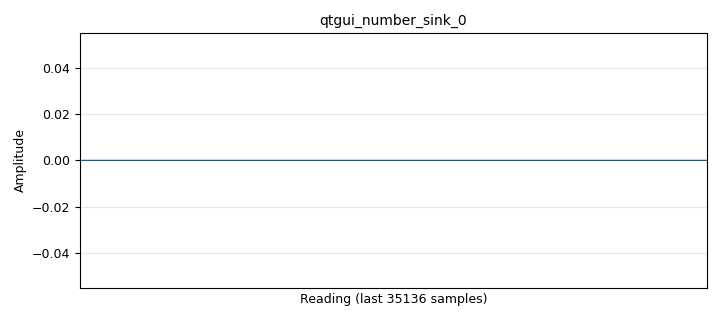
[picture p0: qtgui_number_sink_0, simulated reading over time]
<?xml version='1.0' encoding='utf-8'?>
<?grc format='1' created='3.7.13'?>
<flow_graph>
<block>
<key>options</key>
<param><key>id</key><value>top_block</value></param>
<param><key>generate_options</key><value>qt_gui</value></param>
</block>
<block>
<key>variable</key>
<param><key>id</key><value>samp_rate</value></param>
<param><key>value</key><value>32000</value></param>
</block>
<block>
<key>analog_sig_source_x</key>
<param><key>id</key><value>analog_sig_source_x_0</value></param>
<param><key>amp</key><value>1</value></param>
<param><key>freq</key><value>1000</value></param>
<param><key>offset</key><value>0</value></param>
<param><key>type</key><value>float</value></param>
<param><key>samp_rate</key><value>samp_rate</value></param>
<param><key>waveform</key><value>analog.GR_COS_WAVE</value></param>
</block>
<block>
<key>blocks_complex_to_arg</key>
<param><key>id</key><value>blocks_complex_to_arg_0</value></param>
</block>
<block>
<key>blocks_complex_to_arg</key>
<param><key>id</key><value>blocks_complex_to_arg_0_0</value></param>
</block>
<block>
<key>blocks_delay</key>
<param><key>id</key><value>blocks_delay_0</value></param>
<param><key>delay</key><value>0</value></param>
<param><key>type</key><value>float</value></param>
</block>
<block>
<key>blocks_stream_to_vector</key>
<param><key>id</key><value>blocks_stream_to_vector_0</value></param>
<param><key>type</key><value>float</value></param>
<param><key>num_items</key><value>1024</value></param>
</block>
<block>
<key>blocks_stream_to_vector</key>
<param><key>id</key><value>blocks_stream_to_vector_0_0</value></param>
<param><key>type</key><value>float</value></param>
<param><key>num_items</key><value>1024</value></param>
</block>
<block>
<key>blocks_sub_xx</key>
<param><key>id</key><value>blocks_sub_xx_0</value></param>
<param><key>type</key><value>float</value></param>
</block>
<block>
<key>blocks_vector_to_stream</key>
<param><key>id</key><value>blocks_vector_to_stream_0</value></param>
<param><key>type</key><value>complex</value></param>
<param><key>num_items</key><value>1024</value></param>
</block>
<block>
<key>blocks_vector_to_stream</key>
<param><key>id</key><value>blocks_vector_to_stream_0_0</value></param>
<param><key>type</key><value>complex</value></param>
<param><key>num_items</key><value>1024</value></param>
</block>
<block>
<key>fft_vxx</key>
<param><key>id</key><value>fft_vxx_0</value></param>
<param><key>fft_size</key><value>1024</value></param>
<param><key>forward</key><value>True</value></param>
<param><key>type</key><value>float</value></param>
<param><key>shift</key><value>True</value></param>
<param><key>window</key><value>window.blackmanharris(1024)</value></param>
</block>
<block>
<key>fft_vxx</key>
<param><key>id</key><value>fft_vxx_0_0</value></param>
<param><key>fft_size</key><value>1024</value></param>
<param><key>forward</key><value>True</value></param>
<param><key>type</key><value>float</value></param>
<param><key>shift</key><value>True</value></param>
<param><key>window</key><value>window.blackmanharris(1024)</value></param>
</block>
<block>
<key>qtgui_number_sink</key>
<param><key>id</key><value>qtgui_number_sink_0</value></param>
<param><key>graph_type</key><value>qtgui.NUM_GRAPH_HORIZ</value></param>
<param><key>type</key><value>float</value></param>
</block>
<connection><source_block_id>analog_sig_source_x_0</source_block_id><sink_block_id>blocks_delay_0</sink_block_id><source_key>0</source_key><sink_key>0</sink_key></connection>
<connection><source_block_id>analog_sig_source_x_0</source_block_id><sink_block_id>blocks_stream_to_vector_0</sink_block_id><source_key>0</source_key><sink_key>0</sink_key></connection>
<connection><source_block_id>blocks_complex_to_arg_0</source_block_id><sink_block_id>blocks_sub_xx_0</sink_block_id><source_key>0</source_key><sink_key>0</sink_key></connection>
<connection><source_block_id>blocks_complex_to_arg_0_0</source_block_id><sink_block_id>blocks_sub_xx_0</sink_block_id><source_key>0</source_key><sink_key>1</sink_key></connection>
<connection><source_block_id>blocks_delay_0</source_block_id><sink_block_id>blocks_stream_to_vector_0_0</sink_block_id><source_key>0</source_key><sink_key>0</sink_key></connection>
<connection><source_block_id>blocks_stream_to_vector_0</source_block_id><sink_block_id>fft_vxx_0</sink_block_id><source_key>0</source_key><sink_key>0</sink_key></connection>
<connection><source_block_id>blocks_stream_to_vector_0_0</source_block_id><sink_block_id>fft_vxx_0_0</sink_block_id><source_key>0</source_key><sink_key>0</sink_key></connection>
<connection><source_block_id>blocks_sub_xx_0</source_block_id><sink_block_id>qtgui_number_sink_0</sink_block_id><source_key>0</source_key><sink_key>0</sink_key></connection>
<connection><source_block_id>blocks_vector_to_stream_0</source_block_id><sink_block_id>blocks_complex_to_arg_0</sink_block_id><source_key>0</source_key><sink_key>0</sink_key></connection>
<connection><source_block_id>blocks_vector_to_stream_0_0</source_block_id><sink_block_id>blocks_complex_to_arg_0_0</sink_block_id><source_key>0</source_key><sink_key>0</sink_key></connection>
<connection><source_block_id>fft_vxx_0</source_block_id><sink_block_id>blocks_vector_to_stream_0</sink_block_id><source_key>0</source_key><sink_key>0</sink_key></connection>
<connection><source_block_id>fft_vxx_0_0</source_block_id><sink_block_id>blocks_vector_to_stream_0_0</sink_block_id><source_key>0</source_key><sink_key>0</sink_key></connection>
</flow_graph>
